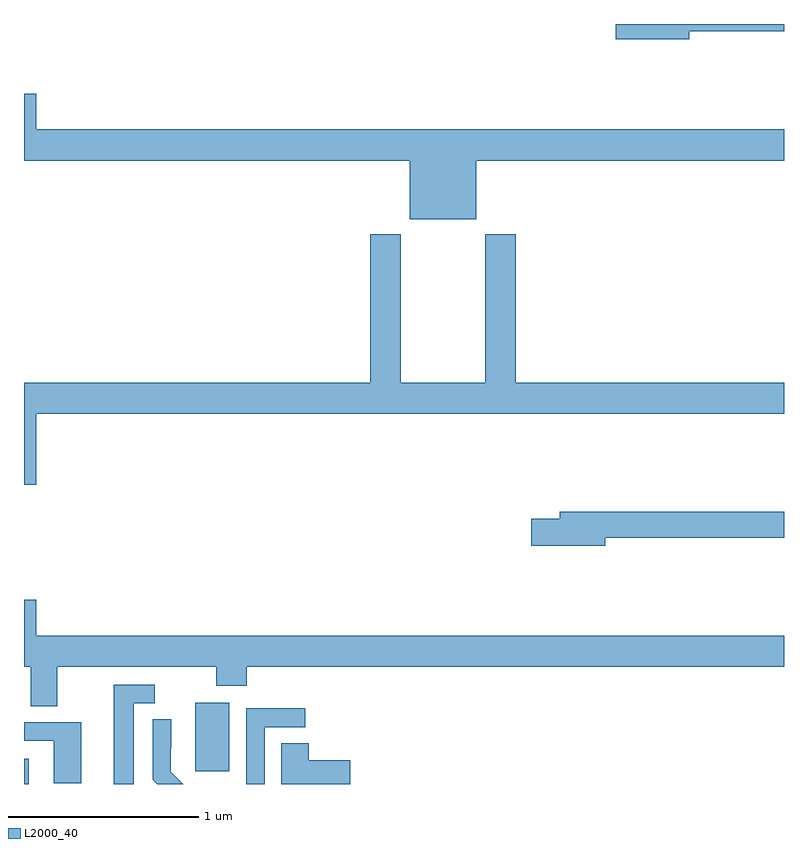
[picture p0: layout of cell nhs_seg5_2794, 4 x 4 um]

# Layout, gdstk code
import gdstk
lib = gdstk.Library(unit=1e-6, precision=1e-09)
def R(c, l, rs):  # rectangles x0, y0, x1, y1
    for r in rs: c.add(gdstk.rectangle(r[:2], r[2:], *l))
def P(c, l, *ps):  # polygons
    for p in ps: c.add(gdstk.Polygon(p, *l))
L2000_40 = (2000, 40)

nhs_seg5_2794 = lib.new_cell('nhs_seg5_2794')
R(nhs_seg5_2794, L2000_40, [(273,866.799,273.025,866.932), (273.902,866.865,274.081,867.226)])
P(nhs_seg5_2794, L2000_40, [(276.502,870.76),(277,870.76),(277,870.799),(276.114,870.799),(276.114,870.718),(276.502,870.718)],
  [(275.38,870.08),(277,870.08),(277,870.244),(273.064,870.244),(273.064,870.433),(273,870.433),(273,870.08),(275.03,870.08),(275.03,869.771),(275.38,869.771)],
  [(273.064,868.748),(277,868.748),(277,868.912),(275.588,868.912),(275.588,869.692),(275.428,869.692),(275.428,868.912),(274.983,868.912),(274.983,869.692),(274.823,869.692),(274.823,868.912),(273,868.912),(273,868.374),(273.064,868.374)],
  [(276.058,868.096),(277,868.096),(277,868.232),(275.819,868.232),(275.819,868.196),(275.67,868.196),(275.67,868.054),(276.058,868.054)],
  [(273.175,867.416),(274.012,867.416),(274.012,867.317),(274.172,867.317),(274.172,867.416),(277,867.416),(277,867.58),(273.064,867.58),(273.064,867.769),(273,867.769),(273,867.416),(273.035,867.416),(273.035,867.208),(273.175,867.208)],
  [(273.577,867.225),(273.688,867.225),(273.688,867.321),(273.473,867.321),(273.473,866.799),(273.577,866.799)],
  [(274.266,867.099),(274.48,867.099),(274.48,867.198),(274.17,867.198),(274.17,866.799),(274.266,866.799)],
  [(273.773,866.864),(273.773,866.986),(273.774,866.986),(273.774,867.14),(273.678,867.14),(273.678,866.822),(273.701,866.799),(273.837,866.799)],
  [(273.301,867.123),(273,867.123),(273,867.027),(273.156,867.027),(273.156,866.803),(273.301,866.803)],
  [(274.717,866.924),(274.499,866.924),(274.499,867.014),(274.355,867.014),(274.355,866.799),(274.717,866.799)])

lib.write_gds('nhs_seg5_2794.gds')
